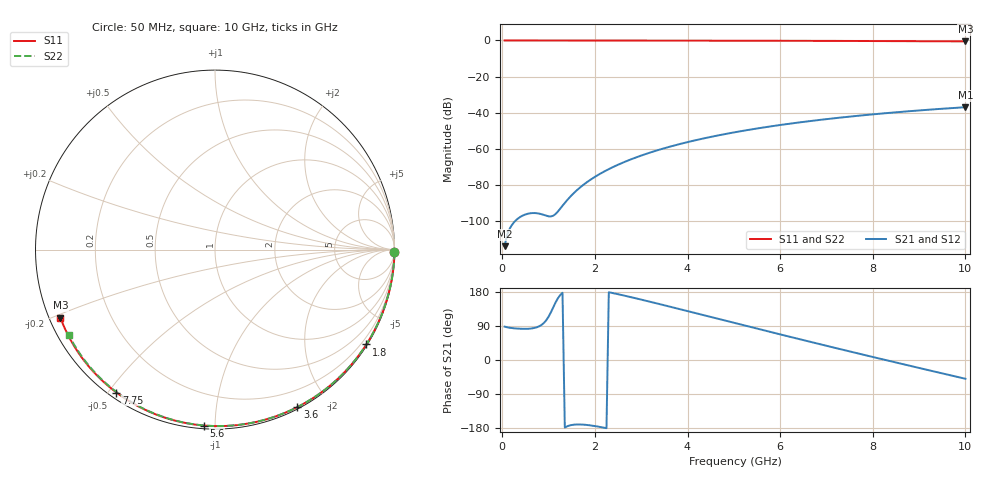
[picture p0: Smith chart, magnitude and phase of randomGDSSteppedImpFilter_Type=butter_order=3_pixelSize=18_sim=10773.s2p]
! freq	dB(S11)	phase(S11)	dB(S12)	phase(S12)
!  dB(S21)	phase(S21)	dB(S22)	phase(S22)
!S-par simulation data
#  GHz  S  DB  R 50
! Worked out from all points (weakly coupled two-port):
!   200 points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, 50 MHz to 10 GHz, reference 50 ohm
!   highest |S21| = -36.96 dB at 10 GHz (marker M1); lowest = -113.9 dB at 50 MHz (marker M2)
!   lowest |S11| = -0.5 dB at 10 GHz (marker M3), VSWR 33.08, Z = 1.58 - j10.5 ohm
!   |S11| at or under -10 dB: nowhere
!   |S22| runs from -0.5 to 0.0 dB; largest |S21 - S12| = 0
!   S11 on the Smith chart (normalised r, x): 50 MHz: open; 1.8 GHz: 0.03, -3.48; 3.6 GHz: 0.02, -1.65; 5.6 GHz: 0.02, -0.94; 7.75 GHz: 0.02, -0.53; 10 GHz: 0.03, -0.21
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0.05  -0.00 -0.9  -113.90 88.1  -113.90 88.1  -0.00 -0.9
0.45  -0.01 -8.1  -96.86 82.2  -96.86 82.2  -0.01 -7.8
0.9  -0.02 -16.2  -96.63 98.0  -96.63 98.0  -0.02 -15.4
1.3  -0.03 -23.3  -91.55 177.4  -91.55 177.4  -0.03 -22.2
1.75  -0.04 -31.2  -79.95 -170.6  -79.95 -170.6  -0.04 -29.7
1.8  -0.04 -32.1  -78.98 -171.1  -78.98 -171.1  -0.04 -30.5
1.95  -0.04 -34.7  -76.33 -173.4  -76.33 -173.4  -0.04 -33.0
2.1  -0.05 -37.3  -73.99 -176.4  -73.99 -176.4  -0.05 -35.5
2.3  -0.05 -40.7  -71.24 178.9  -71.24 178.9  -0.05 -38.8
2.5  -0.06 -44.1  -68.80 173.6  -68.80 173.6  -0.05 -42.0
2.9  -0.07 -50.9  -64.65 162.3  -64.65 162.3  -0.06 -48.5
3.4  -0.08 -59.1  -60.41 147.4  -60.41 147.4  -0.07 -56.4
3.6  -0.08 -62.4  -58.94 141.3  -58.94 141.3  -0.08 -59.6
4.3  -0.10 -73.6  -54.51 119.8  -54.51 119.8  -0.10 -70.3
5.05  -0.13 -85.3  -50.69 96.7  -50.69 96.7  -0.13 -81.5
5.6  -0.16 -93.6  -48.34 79.8  -48.34 79.8  -0.15 -89.5
6.15  -0.18 -101.7  -46.28 63.1  -46.28 63.1  -0.17 -97.3
6.7  -0.21 -109.7  -44.46 46.5  -44.46 46.5  -0.20 -105.0
7.75  -0.29 -124.6  -41.53 15.3  -41.53 15.3  -0.28 -119.3
8.35  -0.34 -133.0  -40.11 -2.2  -40.11 -2.2  -0.33 -127.4
9.2  -0.43 -144.9  -38.36 -26.7  -38.36 -26.7  -0.41 -138.8
10  -0.53 -156.2  -36.96 -49.5  -36.96 -49.5  -0.51 -149.6
